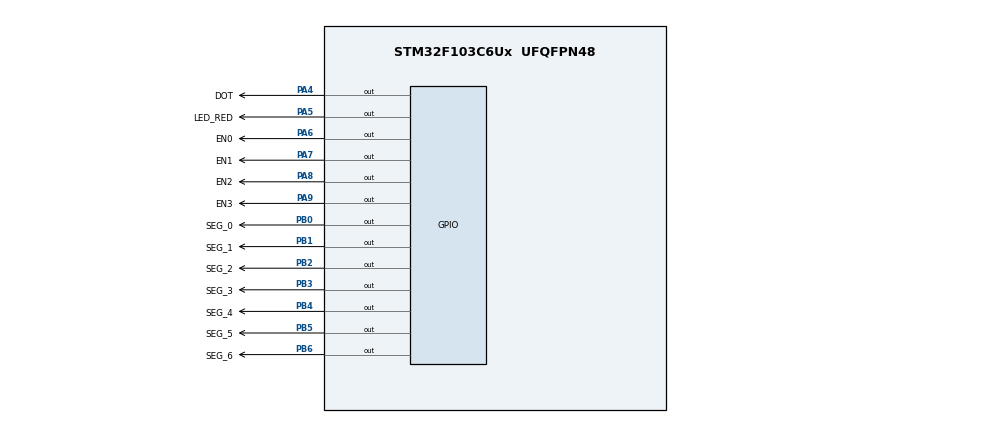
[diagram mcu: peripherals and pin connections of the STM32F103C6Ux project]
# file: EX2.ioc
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Mcu.Family=STM32F1
Mcu.Name=STM32F103C6Ux
Mcu.Package=UFQFPN48
NVIC.PriorityGroup=NVIC_PRIORITYGROUP_4
NVIC.TIM2_IRQn=true\:0\:0\:false\:false\:true\:true\:true
PA4.GPIO_Label=DOT
PA4.Signal=GPIO_Output
PA5.GPIO_Label=LED_RED
PA5.Signal=GPIO_Output
PA6.GPIO_Label=EN0
PA6.Signal=GPIO_Output
PA7.GPIO_Label=EN1
PA7.Signal=GPIO_Output
PA8.GPIO_Label=EN2
PA8.Signal=GPIO_Output
PA9.GPIO_Label=EN3
PA9.Signal=GPIO_Output
PB0.GPIO_Label=SEG_0
PB0.Signal=GPIO_Output
PB1.GPIO_Label=SEG_1
PB1.Signal=GPIO_Output
PB2.GPIO_Label=SEG_2
PB2.Signal=GPIO_Output
PB3.GPIO_Label=SEG_3
PB3.Signal=GPIO_Output
PB4.GPIO_Label=SEG_4
PB4.Signal=GPIO_Output
PB5.GPIO_Label=SEG_5
PB5.Signal=GPIO_Output
PB6.GPIO_Label=SEG_6
PB6.Signal=GPIO_Output
ProjectManager.HeapSize=0x200
ProjectManager.StackSize=0x400
ProjectManager.TargetToolchain=STM32CubeIDE
RCC.APB1Freq_Value=8000000
RCC.APB2Freq_Value=8000000
TIM2.Period=9
TIM2.Prescaler=7999
VP_SYS_VS_ND.Mode=No_Debug
VP_TIM2_VS_ClockSourceINT.Mode=Internal
board=custom

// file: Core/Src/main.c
/* USER CODE BEGIN Header */
/**
  ******************************************************************************
  * @file           : main.c
  * @brief          : Main program body
  ******************************************************************************
  * @attention
  *
  * <h2><center>&copy; Copyright (c) 2024 STMicroelectronics.
  * All rights reserved.</center></h2>
  *
  * This software component is licensed by ST under BSD 3-Clause license,
  * the "License"; You may not use this file except in compliance with the
  * License. You may obtain a copy of the License at:
  *                        opensource.org/licenses/BSD-3-Clause
  *
  ******************************************************************************
  */
/* USER CODE END Header */
#include "main.h"

TIM_HandleTypeDef htim2;

void SystemClock_Config(void);
static void MX_GPIO_Init(void);
static void MX_TIM2_Init(void);

void display7SEG(int num){
	    uint8_t segments[10] = {
	        0b00111111, // 0
	        0b00000110, // 1
	        0b01011011, // 2
	        0b01001111, // 3
	        0b01100110, // 4
	        0b01101101, // 5
	        0b01111101, // 6
	        0b00000111, // 7
	        0b01111111, // 8
	        0b01101111  // 9
	    };

	    uint8_t segment_value = segments[num];

	    HAL_GPIO_WritePin(GPIOB, GPIO_PIN_0, (segment_value & 0x01) ? RESET : SET);  // Segment A
	    HAL_GPIO_WritePin(GPIOB, GPIO_PIN_1, (segment_value & 0x02) ? RESET : SET);  // Segment B
	    HAL_GPIO_WritePin(GPIOB, GPIO_PIN_2, (segment_value & 0x04) ? RESET : SET);  // Segment C
	    HAL_GPIO_WritePin(GPIOB, GPIO_PIN_3, (segment_value & 0x08) ? RESET : SET);  // Segment D
	    HAL_GPIO_WritePin(GPIOB, GPIO_PIN_4, (segment_value & 0x10) ? RESET : SET);  // Segment E
	    HAL_GPIO_WritePin(GPIOB, GPIO_PIN_5, (segment_value & 0x20) ? RESET : SET);  // Segment F
	    HAL_GPIO_WritePin(GPIOB, GPIO_PIN_6, (segment_value & 0x40) ? RESET : SET);  // Segment G
	}
int counter1 = 0;
int counter2 = 0;
int indexLed = 0;
int main(void)
{

  /* MCU Configuration--------------------------------------------------------*/

  /* Reset of all peripherals, Initializes the Flash interface and the Systick. */
  HAL_Init();

  /* Configure the system clock */
  SystemClock_Config();

  /* Initialize all configured peripherals */
  MX_GPIO_Init();
  MX_TIM2_Init();
  /* USER CODE BEGIN 2 */
HAL_TIM_Base_Start_IT(&htim2);
  /* USER CODE END 2 */

  /* Infinite loop */
  while (1)
  {

  }
}

void SystemClock_Config(void)
{
  RCC_OscInitTypeDef RCC_OscInitStruct = {0};
  RCC_ClkInitTypeDef RCC_ClkInitStruct = {0};

  /** Initializes the RCC Oscillators according to the specified parameters
  * in the RCC_OscInitTypeDef structure.
  */
  RCC_OscInitStruct.OscillatorType = RCC_OSCILLATORTYPE_HSI;
  RCC_OscInitStruct.HSIState = RCC_HSI_ON;
  RCC_OscInitStruct.HSICalibrationValue = RCC_HSICALIBRATION_DEFAULT;
  RCC_OscInitStruct.PLL.PLLState = RCC_PLL_NONE;
  if (HAL_RCC_OscConfig(&RCC_OscInitStruct) != HAL_OK)
  {
    Error_Handler();
  }
  /** Initializes the CPU, AHB and APB buses clocks
  */
  RCC_ClkInitStruct.ClockType = RCC_CLOCKTYPE_HCLK|RCC_CLOCKTYPE_SYSCLK
                              |RCC_CLOCKTYPE_PCLK1|RCC_CLOCKTYPE_PCLK2;
  RCC_ClkInitStruct.SYSCLKSource = RCC_SYSCLKSOURCE_HSI;
  RCC_ClkInitStruct.AHBCLKDivider = RCC_SYSCLK_DIV1;
  RCC_ClkInitStruct.APB1CLKDivider = RCC_HCLK_DIV1;
  RCC_ClkInitStruct.APB2CLKDivider = RCC_HCLK_DIV1;

  if (HAL_RCC_ClockConfig(&RCC_ClkInitStruct, FLASH_LATENCY_0) != HAL_OK)
  {
    Error_Handler();
  }
}

static void MX_TIM2_Init(void)
{

  TIM_ClockConfigTypeDef sClockSourceConfig = {0};
  TIM_MasterConfigTypeDef sMasterConfig = {0};

  htim2.Instance = TIM2;
  htim2.Init.Prescaler = 7999;
  htim2.Init.CounterMode = TIM_COUNTERMODE_UP;
  htim2.Init.Period = 9;
  htim2.Init.ClockDivision = TIM_CLOCKDIVISION_DIV1;
  htim2.Init.AutoReloadPreload = TIM_AUTORELOAD_PRELOAD_DISABLE;
  if (HAL_TIM_Base_Init(&htim2) != HAL_OK)
  {
    Error_Handler();
  }
  sClockSourceConfig.ClockSource = TIM_CLOCKSOURCE_INTERNAL;
  if (HAL_TIM_ConfigClockSource(&htim2, &sClockSourceConfig) != HAL_OK)
  {
    Error_Handler();
  }
  sMasterConfig.MasterOutputTrigger = TIM_TRGO_RESET;
  sMasterConfig.MasterSlaveMode = TIM_MASTERSLAVEMODE_DISABLE;
  if (HAL_TIMEx_MasterConfigSynchronization(&htim2, &sMasterConfig) != HAL_OK)
  {
    Error_Handler();
  }

}

static void MX_GPIO_Init(void)
{
  GPIO_InitTypeDef GPIO_InitStruct = {0};

  /* GPIO Ports Clock Enable */
  __HAL_RCC_GPIOA_CLK_ENABLE();
  __HAL_RCC_GPIOB_CLK_ENABLE();

  /*Configure GPIO pin Output Level */
  HAL_GPIO_WritePin(GPIOA, DOT_Pin|LED_RED_Pin|EN0_Pin|EN1_Pin
                          |EN2_Pin|EN3_Pin, GPIO_PIN_RESET);

  /*Configure GPIO pin Output Level */
  HAL_GPIO_WritePin(GPIOB, SEG_0_Pin|SEG_1_Pin|SEG_2_Pin|SEG_3_Pin
                          |SEG_4_Pin|SEG_5_Pin|SEG_6_Pin, GPIO_PIN_RESET);

  /*Configure GPIO pins : DOT_Pin LED_RED_Pin EN0_Pin EN1_Pin
                           EN2_Pin EN3_Pin */
  GPIO_InitStruct.Pin = DOT_Pin|LED_RED_Pin|EN0_Pin|EN1_Pin
                          |EN2_Pin|EN3_Pin;
  GPIO_InitStruct.Mode = GPIO_MODE_OUTPUT_PP;
  GPIO_InitStruct.Pull = GPIO_NOPULL;
  GPIO_InitStruct.Speed = GPIO_SPEED_FREQ_LOW;
  HAL_GPIO_Init(GPIOA, &GPIO_InitStruct);

  /*Configure GPIO pins : SEG_0_Pin SEG_1_Pin SEG_2_Pin SEG_3_Pin
                           SEG_4_Pin SEG_5_Pin SEG_6_Pin */
  GPIO_InitStruct.Pin = SEG_0_Pin|SEG_1_Pin|SEG_2_Pin|SEG_3_Pin
                          |SEG_4_Pin|SEG_5_Pin|SEG_6_Pin;
  GPIO_InitStruct.Mode = GPIO_MODE_OUTPUT_PP;
  GPIO_InitStruct.Pull = GPIO_NOPULL;
  GPIO_InitStruct.Speed = GPIO_SPEED_FREQ_LOW;
  HAL_GPIO_Init(GPIOB, &GPIO_InitStruct);

}

/* USER CODE BEGIN 4 */
void HAL_TIM_PeriodElapsedCallback(TIM_HandleTypeDef *htim){
	counter1++;
	counter2++;
	if(counter2 == 100){
		counter2 = 0;
		HAL_GPIO_TogglePin(GPIOA, DOT_Pin);
	}
	if(counter1 == 50){
		counter1 = 0;
		HAL_GPIO_WritePin(GPIOA, EN0_Pin, SET);
		HAL_GPIO_WritePin(GPIOA, EN1_Pin, SET);
		HAL_GPIO_WritePin(GPIOA, EN2_Pin, SET);
		HAL_GPIO_WritePin(GPIOA, EN3_Pin, SET);
		indexLed = indexLed % 4;
		switch(indexLed){
		case 0:
			HAL_GPIO_WritePin(GPIOA, EN0_Pin, RESET);
			display7SEG(1);
			indexLed++;
			break;
		case 1:
			HAL_GPIO_WritePin(GPIOA, EN1_Pin, RESET);
			display7SEG(2);
			indexLed++;
			break;
		case 2:
			HAL_GPIO_WritePin(GPIOA, EN2_Pin, RESET);
			display7SEG(3);
			indexLed++;
			break;
		case 3:
			HAL_GPIO_WritePin(GPIOA, EN3_Pin, RESET);
			display7SEG(0);
			indexLed++;
			break;
		default:
			break;
		}
	}
}
/* USER CODE END 4 */

void Error_Handler(void)
{
  __disable_irq();
  while (1)
  {
  }
}

/************************ (C) COPYRIGHT STMicroelectronics *****END OF FILE****/
